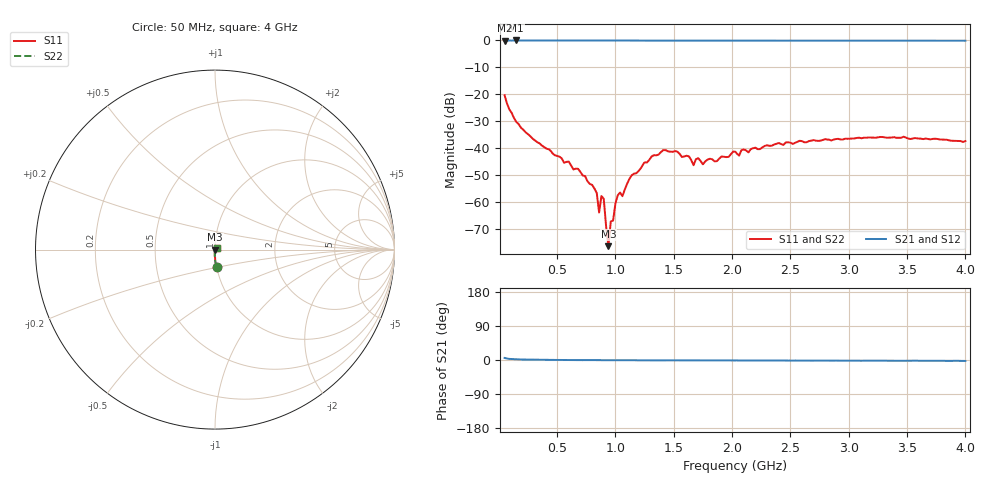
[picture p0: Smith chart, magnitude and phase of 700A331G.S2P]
!  American Technical Ceramics  Date:  3/13/98
!  One Norden Lane
!  Huntington Station,  NY.  11746-2102
!  Tel:  (516) 547-5700  Fax:  (516) 547-5748
!  Part Number  700A331G
!  Description: Porcelain, High Q, Low ESR
!  Application: Bypass, Coupling, Timing, Feedback
!  Tuning, Impedance Match, Blocking
# GHZ S DB R 50
! Freq  |S11|  S11 Ph  |S21|  S21 Ph  |S12|  S12 Ph  |S22|  S22 Ph
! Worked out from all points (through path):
!   201 points, 50 MHz to 4 GHz, reference 50 ohm
!   highest |S21| = 0.01 dB at 150 MHz (marker M1); lowest = -0.1 dB at 50 MHz (marker M2)
!   lowest |S11| = -76.3 dB at 940 MHz (marker M3), VSWR 1.00, Z = 50 - j0.0153 ohm
!   |S11| at or under -10 dB: start of sweep to end of sweep
!   |S22| runs from -76.3 to -20.3 dB; largest |S21 - S12| = 0
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0.05  -20.34 -83.3  -0.11 5.5  -0.11 5.5  -20.34 -83.3
0.15  -30.20 -92.9  0.01 2.0  0.01 2.0  -30.20 -92.9
0.72  -50.07 -105.8  -0.02 -0.3  -0.02 -0.3  -50.07 -105.8
0.84  -56.60 -119.4  -0.01 -0.3  -0.01 -0.3  -56.60 -119.4
0.86  -63.83 -97.2  -0.01 -0.5  -0.01 -0.5  -63.83 -97.2
0.88  -57.69 -97.5  -0.01 -0.4  -0.01 -0.4  -57.69 -97.5
0.9  -58.73 -136.6  -0.02 -0.4  -0.02 -0.4  -58.73 -136.6
0.94  -76.30 -89.8  -0.02 -0.5  -0.02 -0.5  -76.30 -89.8
0.96  -67.12 -152.1  -0.01 -0.5  -0.01 -0.5  -67.12 -152.1
0.98  -66.79 145.8  -0.03 -0.4  -0.03 -0.4  -66.79 145.8
1.02  -57.42 83.6  -0.01 -0.6  -0.01 -0.6  -57.42 83.6
1.06  -57.76 66.2  -0.02 -0.7  -0.02 -0.7  -57.76 66.2
1.14  -49.98 73.1  -0.02 -0.6  -0.02 -0.6  -49.98 73.1
1.25  -45.23 55.1  -0.05 -1.0  -0.05 -1.0  -45.23 55.1
1.37  -42.31 45.7  -0.06 -0.9  -0.06 -0.9  -42.31 45.7
1.53  -41.23 12.7  -0.08 -0.9  -0.08 -0.9  -41.23 12.7
1.67  -46.27 22.9  -0.07 -0.8  -0.07 -0.8  -46.27 22.9
1.71  -43.67 19.2  -0.08 -0.7  -0.08 -0.7  -43.67 19.2
2.03  -41.30 43.1  -0.03 -1.2  -0.03 -1.2  -41.30 43.1
2.7  -36.95 47.2  -0.06 -1.5  -0.06 -1.5  -36.95 47.2
3.35  -36.01 45.0  -0.08 -1.9  -0.08 -1.9  -36.01 45.0
4  -37.30 33.4  -0.09 -2.5  -0.09 -2.5  -37.30 33.4
